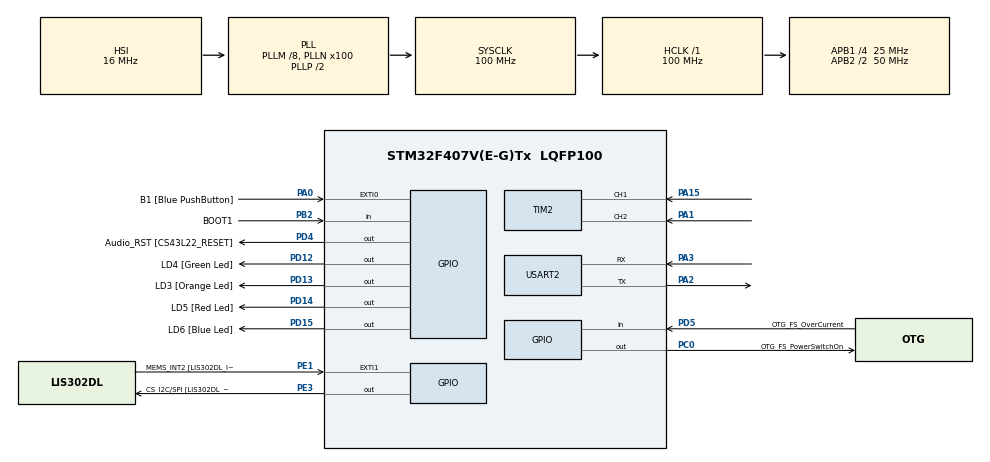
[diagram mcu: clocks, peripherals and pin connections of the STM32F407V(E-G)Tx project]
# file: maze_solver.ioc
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Mcu.Family=STM32F4
Mcu.Name=STM32F407V(E-G)Tx
Mcu.Package=LQFP100
NVIC.PriorityGroup=NVIC_PRIORITYGROUP_0
PA0-WKUP.GPIO_Label=B1 [Blue PushButton]
PA0-WKUP.Signal=GPXTI0
PA1.Signal=S_TIM2_CH2
PA10.GPIO_Label=OTG_FS_ID
PA10.GPIO_Mode=GPIO_MODE_AF_PP
PA10.GPIO_PuPd=GPIO_NOPULL
PA10.GPIO_Speed=GPIO_SPEED_FREQ_LOW
PA10.Signal=USB_OTG_FS_ID
PA11.GPIO_Label=OTG_FS_DM
PA11.GPIO_Mode=GPIO_MODE_AF_PP
PA11.GPIO_PuPd=GPIO_NOPULL
PA11.GPIO_Speed=GPIO_SPEED_FREQ_LOW
PA11.Signal=USB_OTG_FS_DM
PA12.GPIO_Label=OTG_FS_DP
PA12.GPIO_Mode=GPIO_MODE_AF_PP
PA12.GPIO_PuPd=GPIO_NOPULL
PA12.GPIO_Speed=GPIO_SPEED_FREQ_LOW
PA12.Signal=USB_OTG_FS_DP
PA13.GPIO_Label=SWDIO
PA13.Signal=SYS_JTMS-SWDIO
PA14.GPIO_Label=SWCLK
PA14.Signal=SYS_JTCK-SWCLK
PA15.Signal=S_TIM2_CH1_ETR
PA2.Mode=Asynchronous
PA2.Signal=USART2_TX
PA3.Mode=Asynchronous
PA3.Signal=USART2_RX
PA4.GPIO_Label=I2S3_WS [CS43L22_LRCK]
PA4.GPIO_Mode=GPIO_MODE_AF_PP
PA4.GPIO_PuPd=GPIO_NOPULL
PA4.GPIO_Speed=GPIO_SPEED_FREQ_LOW
PA4.Signal=I2S3_WS
PA5.GPIO_Label=SPI1_SCK [LIS302DL_SCL/SPC]
PA5.GPIO_Mode=GPIO_MODE_AF_PP
PA5.GPIO_PuPd=GPIO_NOPULL
PA5.GPIO_Speed=GPIO_SPEED_FREQ_LOW
PA5.Signal=SPI1_SCK
PA6.GPIO_Label=SPI1_MISO [LIS302DL_SDO]
PA6.GPIO_Mode=GPIO_MODE_AF_PP
PA6.GPIO_PuPd=GPIO_NOPULL
PA6.GPIO_Speed=GPIO_SPEED_FREQ_LOW
PA6.Signal=SPI1_MISO
PA7.GPIO_Label=SPI1_MOSI [LIS302DL_SDA/SDI/SDO]
PA7.GPIO_Mode=GPIO_MODE_AF_PP
PA7.GPIO_PuPd=GPIO_NOPULL
PA7.GPIO_Speed=GPIO_SPEED_FREQ_LOW
PA7.Signal=SPI1_MOSI
PA9.GPIO_Label=VBUS_FS
PA9.GPIO_Mode=GPIO_MODE_INPUT
PA9.GPIO_PuPd=GPIO_NOPULL
PA9.Signal=USB_OTG_FS_VBUS
PB10.GPIO_Label=CLK_IN [MP45DT02_CLK]
PB10.GPIO_Mode=GPIO_MODE_AF_PP
PB10.GPIO_PuPd=GPIO_NOPULL
PB10.GPIO_Speed=GPIO_SPEED_FREQ_LOW
PB10.Signal=I2S2_CK
PB2.GPIO_Label=BOOT1
PB2.GPIO_Mode=GPIO_MODE_INPUT
PB2.GPIO_PuPd=GPIO_NOPULL
PB2.Signal=GPIO_Input
PB3.GPIO_Label=SWO
PB3.Signal=SYS_JTDO-SWO
PB6.GPIO_Label=Audio_SCL [CS43L22_SCL]
PB6.GPIO_Mode=GPIO_MODE_AF_OD
PB6.GPIO_PuPd=GPIO_NOPULL
PB6.GPIO_Speed=GPIO_SPEED_FREQ_LOW
PB6.Signal=I2C1_SCL
PB9.GPIO_Label=Audio_SDA [CS43L22_SDA]
PB9.GPIO_Mode=GPIO_MODE_AF_OD
PB9.GPIO_PuPd=GPIO_NOPULL
PB9.GPIO_Speed=GPIO_SPEED_FREQ_LOW
PB9.Signal=I2C1_SDA
PC0.GPIO_Label=OTG_FS_PowerSwitchOn
PC0.GPIO_PuPd=GPIO_NOPULL
PC0.GPIO_Speed=GPIO_SPEED_FREQ_LOW
PC0.PinState=GPIO_PIN_SET
PC0.Signal=GPIO_Output
PC10.GPIO_Label=I2S3_SCK [CS43L22_SCLK]
PC10.GPIO_Mode=GPIO_MODE_AF_PP
PC10.GPIO_PuPd=GPIO_NOPULL
PC10.GPIO_Speed=GPIO_SPEED_FREQ_LOW
PC10.Signal=I2S3_CK
PC12.GPIO_Label=I2S3_SD [CS43L22_SDIN]
PC12.GPIO_Mode=GPIO_MODE_AF_PP
PC12.GPIO_PuPd=GPIO_NOPULL
PC12.GPIO_Speed=GPIO_SPEED_FREQ_LOW
PC12.Signal=I2S3_SD
PC14-OSC32_IN.GPIO_Label=PC14-OSC32_IN
PC14-OSC32_IN.Signal=RCC_OSC32_IN
PC15-OSC32_OUT.GPIO_Label=PC15-OSC32_OUT
PC15-OSC32_OUT.Signal=RCC_OSC32_OUT
PC3.GPIO_Label=PDM_OUT [MP45DT02_DOUT]
PC3.GPIO_Mode=GPIO_MODE_AF_PP
PC3.GPIO_PuPd=GPIO_NOPULL
PC3.GPIO_Speed=GPIO_SPEED_FREQ_LOW
PC3.Signal=I2S2_SD
PC7.GPIO_Label=I2S3_MCK [CS43L22_MCLK]
PC7.GPIO_Mode=GPIO_MODE_AF_PP
PC7.GPIO_PuPd=GPIO_NOPULL
PC7.GPIO_Speed=GPIO_SPEED_FREQ_LOW
PC7.Signal=I2S3_MCK
PD12.GPIO_Label=LD4 [Green Led]
PD12.GPIO_PuPd=GPIO_NOPULL
PD12.GPIO_Speed=GPIO_SPEED_FREQ_LOW
PD12.Signal=GPIO_Output
PD13.GPIO_Label=LD3 [Orange Led]
PD13.GPIO_PuPd=GPIO_NOPULL
PD13.GPIO_Speed=GPIO_SPEED_FREQ_LOW
PD13.Signal=GPIO_Output
PD14.GPIO_Label=LD5 [Red Led]
PD14.GPIO_PuPd=GPIO_NOPULL
PD14.GPIO_Speed=GPIO_SPEED_FREQ_LOW
PD14.Signal=GPIO_Output
PD15.GPIO_Label=LD6 [Blue Led]
PD15.GPIO_PuPd=GPIO_NOPULL
PD15.GPIO_Speed=GPIO_SPEED_FREQ_LOW
PD15.Signal=GPIO_Output
PD4.GPIO_Label=Audio_RST [CS43L22_RESET]
PD4.GPIO_PuPd=GPIO_NOPULL
PD4.GPIO_Speed=GPIO_SPEED_FREQ_LOW
PD4.Signal=GPIO_Output
PD5.GPIO_Label=OTG_FS_OverCurrent
PD5.GPIO_Mode=GPIO_MODE_INPUT
PD5.GPIO_PuPd=GPIO_NOPULL
PD5.Signal=GPIO_Input
PE1.GPIO_Label=MEMS_INT2 [LIS302DL_INT2]
PE1.GPIO_ModeDefaultEXTI=GPIO_MODE_EVT_RISING
PE1.GPIO_PuPd=GPIO_NOPULL
PE1.Signal=GPXTI1
PE3.GPIO_Label=CS_I2C/SPI [LIS302DL_CS_I2C/SPI]
PE3.GPIO_PuPd=GPIO_NOPULL
PE3.GPIO_Speed=GPIO_SPEED_FREQ_LOW
PE3.Signal=GPIO_Output
PH0-OSC_IN.GPIO_Label=PH0-OSC_IN
PH0-OSC_IN.Signal=RCC_OSC_IN
PH1-OSC_OUT.GPIO_Label=PH1-OSC_OUT
PH1-OSC_OUT.Signal=RCC_OSC_OUT
ProjectManager.HeapSize=0x200
ProjectManager.StackSize=0x400
ProjectManager.TargetToolchain=STM32CubeIDE
RCC.48MHZClocksFreq_Value=28571428.57142857
RCC.AHBFreq_Value=100000000
RCC.APB1CLKDivider=RCC_HCLK_DIV4
RCC.APB1Freq_Value=25000000
RCC.APB1TimFreq_Value=50000000
RCC.APB2CLKDivider=RCC_HCLK_DIV2
RCC.APB2Freq_Value=50000000
RCC.APB2TimFreq_Value=100000000
RCC.CortexFreq_Value=100000000
RCC.HCLKFreq_Value=100000000
RCC.HSE_VALUE=8000000
RCC.HSI_VALUE=16000000
RCC.LSE_VALUE=32768
RCC.PLLM=8
RCC.PLLN=100
RCC.PLLQ=7
RCC.SYSCLKFreq_VALUE=100000000
RCC.SYSCLKSource=RCC_SYSCLKSOURCE_PLLCLK
RCC.VCOOutputFreq_Value=200000000
SH.S_TIM2_CH1_ETR.0=TIM2_CH1,Encoder_Interface
SH.S_TIM2_CH2.0=TIM2_CH2,Encoder_Interface
TIM2.EncoderMode=TIM_ENCODERMODE_TI12
USART2.VirtualMode=VM_ASYNC
VP_TIM7_VS_ClockSourceINT.Mode=Enable_Timer
board=STM32F407G-DISC1

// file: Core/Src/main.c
/* USER CODE BEGIN Header */
/**
  ******************************************************************************
  * @file           : main.c
  * @brief          : Main program body
  ******************************************************************************
  * @attention
  *
  * Copyright (c) 2023 STMicroelectronics.
  * All rights reserved.
  *
  * This software is licensed under terms that can be found in the LICENSE file
  * in the root directory of this software component.
  * If no LICENSE file comes with this software, it is provided AS-IS.
  *
  ******************************************************************************
  */
/* USER CODE END Header */
#include "main.h"

/* USER CODE BEGIN Includes */
#include <string.h>
#include <stdlib.h>
/* USER CODE END Includes */

/* USER CODE BEGIN PTD */

typedef struct{
//	uint8_t Is_Wall_Back;
	uint8_t	Is_Wall_Front;
	uint8_t	Is_Wall_Left;
	uint8_t	Is_Wall_Right;
	uint16_t value ;
}cell_t;

/* USER CODE END PTD */

/* USER CODE BEGIN PD */

#define CELL_IN_ROW  	  15		// counted from 0
#define CELL_IN_COLUMN    15		// counted from 0
#define CELL_LENGTH_IN_CM 25		//cm absolute not from 0
#define NO_OF_CELL ( (CELL_IN_ROW ) * ( CELL_IN_COLUMN ) )  //counted from 0
#define MAZE_IS_EVEN  0
#define MAZE_IS_ODD   1

/* USER CODE END PD */

/* USER CODE BEGIN PM */
#define DEBUG 1 // make it zero to save mem and optimization
/* USER CODE END PM */

TIM_HandleTypeDef htim2;
TIM_HandleTypeDef htim7;

UART_HandleTypeDef huart2;

/* USER CODE BEGIN PV */

uint16_t center_row_location [2] ;
uint16_t center_column_location [2] ;

cell_t cells [CELL_IN_ROW + 1][CELL_IN_COLUMN + 1] ;

uint32_t counter = 0 ;

/* USER CODE END PV */

void SystemClock_Config(void);
static void MX_GPIO_Init(void);
static void MX_USART2_UART_Init(void);
static void MX_TIM7_Init(void);
static void MX_TIM2_Init(void);
/* USER CODE BEGIN PFP */
void floodfill_with_no_walls() ;
uint8_t manhatten_distance (uint8_t c_in_row , uint8_t c_in_col ,
							uint8_t goal_row , uint8_t goal_col);

/* USER CODE END PFP */

/* USER CODE BEGIN 0 */

void __io_putchar(int ch){
	ITM_SendChar(ch) ;
}

/* USER CODE END 0 */

int main(void)
{

  /* MCU Configuration--------------------------------------------------------*/

  /* Reset of all peripherals, Initializes the Flash interface and the Systick. */
  HAL_Init();

  /* Configure the system clock */
  SystemClock_Config();

  /* Initialize all configured peripherals */
  MX_GPIO_Init();
  MX_USART2_UART_Init();
  MX_TIM7_Init();
  MX_TIM2_Init();
  /* USER CODE BEGIN 2 */

  // setting the cells to zero value
  memset(cells , RESET , sizeof(cells)) ;

  // find the center location of the cell
  // first find wether it is odd or even
  uint8_t is_odd = 0 ;
  is_odd = ( ( (CELL_IN_ROW * CELL_IN_COLUMN ) % 2 ) == 1 )? MAZE_IS_ODD : MAZE_IS_EVEN;

  /* is is_odd value is 1 then it is odd
  number matrix else it is even if it has 0 as it value */

  if (is_odd == 1) {

  center_row_location[0] = (  CELL_IN_ROW / 2 );
  center_row_location[1] = ( (CELL_IN_ROW / 2 ) + 1 );

  center_column_location[0] = ( CELL_IN_COLUMN / 2 );
  center_column_location[1] = ( (CELL_IN_COLUMN / 2 ) + 1 );

  }else if (is_odd == 0) {

  center_row_location[0] = (  CELL_IN_ROW / 2 );
  center_row_location[1] = -1 ;

  center_column_location[0] = ( CELL_IN_COLUMN / 2 );
  center_column_location[1] = -1 ;

  }
  // do a flood fill with no walls at all which means all values are basically static
  floodfill_with_no_walls() ;

  HAL_UART_Transmit(&huart2, (uint8_t*)"static flooding complete ", 26, HAL_MAX_DELAY) ;

  for (uint8_t i = 0; i < 4; i++) {
  HAL_GPIO_WritePin(GPIOD, GPIO_PIN_14, SET) ;
  HAL_Delay(150) ;
  HAL_GPIO_WritePin(GPIOD, GPIO_PIN_14, RESET) ;
  HAL_Delay(150) ;
  }
  HAL_GPIO_WritePin(GPIOD, GPIO_PIN_14, SET) ;

  HAL_TIM_Encoder_Start(&htim2, TIM_CHANNEL_ALL) ;

  /* USER CODE END 2 */

  /* Infinite loop */
  while (1)
  {

	counter = __HAL_TIM_GET_COUNTER(&htim2) ;
	  printf("%d \n " , counter) ;
	  HAL_Delay(500) ;
  }
}

void SystemClock_Config(void)
{
  RCC_OscInitTypeDef RCC_OscInitStruct = {0};
  RCC_ClkInitTypeDef RCC_ClkInitStruct = {0};

  /** Configure the main internal regulator output voltage
  */
  __HAL_RCC_PWR_CLK_ENABLE();
  __HAL_PWR_VOLTAGESCALING_CONFIG(PWR_REGULATOR_VOLTAGE_SCALE1);

  /** Initializes the RCC Oscillators according to the specified parameters
  * in the RCC_OscInitTypeDef structure.
  */
  RCC_OscInitStruct.OscillatorType = RCC_OSCILLATORTYPE_HSI;
  RCC_OscInitStruct.HSIState = RCC_HSI_ON;
  RCC_OscInitStruct.HSICalibrationValue = RCC_HSICALIBRATION_DEFAULT;
  RCC_OscInitStruct.PLL.PLLState = RCC_PLL_ON;
  RCC_OscInitStruct.PLL.PLLSource = RCC_PLLSOURCE_HSI;
  RCC_OscInitStruct.PLL.PLLM = 8;
  RCC_OscInitStruct.PLL.PLLN = 100;
  RCC_OscInitStruct.PLL.PLLP = RCC_PLLP_DIV2;
  RCC_OscInitStruct.PLL.PLLQ = 7;
  if (HAL_RCC_OscConfig(&RCC_OscInitStruct) != HAL_OK)
  {
    Error_Handler();
  }

  /** Initializes the CPU, AHB and APB buses clocks
  */
  RCC_ClkInitStruct.ClockType = RCC_CLOCKTYPE_HCLK|RCC_CLOCKTYPE_SYSCLK
                              |RCC_CLOCKTYPE_PCLK1|RCC_CLOCKTYPE_PCLK2;
  RCC_ClkInitStruct.SYSCLKSource = RCC_SYSCLKSOURCE_PLLCLK;
  RCC_ClkInitStruct.AHBCLKDivider = RCC_SYSCLK_DIV1;
  RCC_ClkInitStruct.APB1CLKDivider = RCC_HCLK_DIV4;
  RCC_ClkInitStruct.APB2CLKDivider = RCC_HCLK_DIV2;

  if (HAL_RCC_ClockConfig(&RCC_ClkInitStruct, FLASH_LATENCY_3) != HAL_OK)
  {
    Error_Handler();
  }
}

static void MX_TIM2_Init(void)
{

  TIM_Encoder_InitTypeDef sConfig = {0};
  TIM_MasterConfigTypeDef sMasterConfig = {0};

  htim2.Instance = TIM2;
  htim2.Init.Prescaler = 0;
  htim2.Init.CounterMode = TIM_COUNTERMODE_UP;
  htim2.Init.Period = 4294967295;
  htim2.Init.ClockDivision = TIM_CLOCKDIVISION_DIV1;
  htim2.Init.AutoReloadPreload = TIM_AUTORELOAD_PRELOAD_DISABLE;
  sConfig.EncoderMode = TIM_ENCODERMODE_TI12;
  sConfig.IC1Polarity = TIM_ICPOLARITY_RISING;
  sConfig.IC1Selection = TIM_ICSELECTION_DIRECTTI;
  sConfig.IC1Prescaler = TIM_ICPSC_DIV1;
  sConfig.IC1Filter = 10;
  sConfig.IC2Polarity = TIM_ICPOLARITY_RISING;
  sConfig.IC2Selection = TIM_ICSELECTION_DIRECTTI;
  sConfig.IC2Prescaler = TIM_ICPSC_DIV1;
  sConfig.IC2Filter = 10;
  if (HAL_TIM_Encoder_Init(&htim2, &sConfig) != HAL_OK)
  {
    Error_Handler();
  }
  sMasterConfig.MasterOutputTrigger = TIM_TRGO_RESET;
  sMasterConfig.MasterSlaveMode = TIM_MASTERSLAVEMODE_DISABLE;
  if (HAL_TIMEx_MasterConfigSynchronization(&htim2, &sMasterConfig) != HAL_OK)
  {
    Error_Handler();
  }

}

static void MX_TIM7_Init(void)
{

  TIM_MasterConfigTypeDef sMasterConfig = {0};

  htim7.Instance = TIM7;
  htim7.Init.Prescaler = 0;
  htim7.Init.CounterMode = TIM_COUNTERMODE_UP;
  htim7.Init.Period = 65535;
  htim7.Init.AutoReloadPreload = TIM_AUTORELOAD_PRELOAD_DISABLE;
  if (HAL_TIM_Base_Init(&htim7) != HAL_OK)
  {
    Error_Handler();
  }
  sMasterConfig.MasterOutputTrigger = TIM_TRGO_RESET;
  sMasterConfig.MasterSlaveMode = TIM_MASTERSLAVEMODE_DISABLE;
  if (HAL_TIMEx_MasterConfigSynchronization(&htim7, &sMasterConfig) != HAL_OK)
  {
    Error_Handler();
  }

}

static void MX_USART2_UART_Init(void)
{

  huart2.Instance = USART2;
  huart2.Init.BaudRate = 115200;
  huart2.Init.WordLength = UART_WORDLENGTH_8B;
  huart2.Init.StopBits = UART_STOPBITS_1;
  huart2.Init.Parity = UART_PARITY_NONE;
  huart2.Init.Mode = UART_MODE_TX_RX;
  huart2.Init.HwFlowCtl = UART_HWCONTROL_NONE;
  huart2.Init.OverSampling = UART_OVERSAMPLING_16;
  if (HAL_UART_Init(&huart2) != HAL_OK)
  {
    Error_Handler();
  }

}

static void MX_GPIO_Init(void)
{
  GPIO_InitTypeDef GPIO_InitStruct = {0};

  /* GPIO Ports Clock Enable */
  __HAL_RCC_GPIOE_CLK_ENABLE();
  __HAL_RCC_GPIOC_CLK_ENABLE();
  __HAL_RCC_GPIOH_CLK_ENABLE();
  __HAL_RCC_GPIOA_CLK_ENABLE();
  __HAL_RCC_GPIOB_CLK_ENABLE();
  __HAL_RCC_GPIOD_CLK_ENABLE();

  /*Configure GPIO pin Output Level */
  HAL_GPIO_WritePin(CS_I2C_SPI_GPIO_Port, CS_I2C_SPI_Pin, GPIO_PIN_RESET);

  /*Configure GPIO pin Output Level */
  HAL_GPIO_WritePin(OTG_FS_PowerSwitchOn_GPIO_Port, OTG_FS_PowerSwitchOn_Pin, GPIO_PIN_SET);

  /*Configure GPIO pin Output Level */
  HAL_GPIO_WritePin(GPIOD, LD4_Pin|LD3_Pin|LD5_Pin|LD6_Pin
                          |Audio_RST_Pin, GPIO_PIN_RESET);

  /*Configure GPIO pin : CS_I2C_SPI_Pin */
  GPIO_InitStruct.Pin = CS_I2C_SPI_Pin;
  GPIO_InitStruct.Mode = GPIO_MODE_OUTPUT_PP;
  GPIO_InitStruct.Pull = GPIO_NOPULL;
  GPIO_InitStruct.Speed = GPIO_SPEED_FREQ_LOW;
  HAL_GPIO_Init(CS_I2C_SPI_GPIO_Port, &GPIO_InitStruct);

  /*Configure GPIO pin : OTG_FS_PowerSwitchOn_Pin */
  GPIO_InitStruct.Pin = OTG_FS_PowerSwitchOn_Pin;
  GPIO_InitStruct.Mode = GPIO_MODE_OUTPUT_PP;
  GPIO_InitStruct.Pull = GPIO_NOPULL;
  GPIO_InitStruct.Speed = GPIO_SPEED_FREQ_LOW;
  HAL_GPIO_Init(OTG_FS_PowerSwitchOn_GPIO_Port, &GPIO_InitStruct);

  /*Configure GPIO pin : PDM_OUT_Pin */
  GPIO_InitStruct.Pin = PDM_OUT_Pin;
  GPIO_InitStruct.Mode = GPIO_MODE_AF_PP;
  GPIO_InitStruct.Pull = GPIO_NOPULL;
  GPIO_InitStruct.Speed = GPIO_SPEED_FREQ_LOW;
  GPIO_InitStruct.Alternate = GPIO_AF5_SPI2;
  HAL_GPIO_Init(PDM_OUT_GPIO_Port, &GPIO_InitStruct);

  /*Configure GPIO pin : B1_Pin */
  GPIO_InitStruct.Pin = B1_Pin;
  GPIO_InitStruct.Mode = GPIO_MODE_IT_RISING;
  GPIO_InitStruct.Pull = GPIO_NOPULL;
  HAL_GPIO_Init(B1_GPIO_Port, &GPIO_InitStruct);

  /*Configure GPIO pin : I2S3_WS_Pin */
  GPIO_InitStruct.Pin = I2S3_WS_Pin;
  GPIO_InitStruct.Mode = GPIO_MODE_AF_PP;
  GPIO_InitStruct.Pull = GPIO_NOPULL;
  GPIO_InitStruct.Speed = GPIO_SPEED_FREQ_LOW;
  GPIO_InitStruct.Alternate = GPIO_AF6_SPI3;
  HAL_GPIO_Init(I2S3_WS_GPIO_Port, &GPIO_InitStruct);

  /*Configure GPIO pins : SPI1_SCK_Pin SPI1_MISO_Pin SPI1_MOSI_Pin */
  GPIO_InitStruct.Pin = SPI1_SCK_Pin|SPI1_MISO_Pin|SPI1_MOSI_Pin;
  GPIO_InitStruct.Mode = GPIO_MODE_AF_PP;
  GPIO_InitStruct.Pull = GPIO_NOPULL;
  GPIO_InitStruct.Speed = GPIO_SPEED_FREQ_LOW;
  GPIO_InitStruct.Alternate = GPIO_AF5_SPI1;
  HAL_GPIO_Init(GPIOA, &GPIO_InitStruct);

  /*Configure GPIO pin : BOOT1_Pin */
  GPIO_InitStruct.Pin = BOOT1_Pin;
  GPIO_InitStruct.Mode = GPIO_MODE_INPUT;
  GPIO_InitStruct.Pull = GPIO_NOPULL;
  HAL_GPIO_Init(BOOT1_GPIO_Port, &GPIO_InitStruct);

  /*Configure GPIO pin : CLK_IN_Pin */
  GPIO_InitStruct.Pin = CLK_IN_Pin;
  GPIO_InitStruct.Mode = GPIO_MODE_AF_PP;
  GPIO_InitStruct.Pull = GPIO_NOPULL;
  GPIO_InitStruct.Speed = GPIO_SPEED_FREQ_LOW;
  GPIO_InitStruct.Alternate = GPIO_AF5_SPI2;
  HAL_GPIO_Init(CLK_IN_GPIO_Port, &GPIO_InitStruct);

  /*Configure GPIO pins : LD4_Pin LD3_Pin LD5_Pin LD6_Pin
                           Audio_RST_Pin */
  GPIO_InitStruct.Pin = LD4_Pin|LD3_Pin|LD5_Pin|LD6_Pin
                          |Audio_RST_Pin;
  GPIO_InitStruct.Mode = GPIO_MODE_OUTPUT_PP;
  GPIO_InitStruct.Pull = GPIO_NOPULL;
  GPIO_InitStruct.Speed = GPIO_SPEED_FREQ_LOW;
  HAL_GPIO_Init(GPIOD, &GPIO_InitStruct);

  /*Configure GPIO pins : I2S3_MCK_Pin I2S3_SCK_Pin I2S3_SD_Pin */
  GPIO_InitStruct.Pin = I2S3_MCK_Pin|I2S3_SCK_Pin|I2S3_SD_Pin;
  GPIO_InitStruct.Mode = GPIO_MODE_AF_PP;
  GPIO_InitStruct.Pull = GPIO_NOPULL;
  GPIO_InitStruct.Speed = GPIO_SPEED_FREQ_LOW;
  GPIO_InitStruct.Alternate = GPIO_AF6_SPI3;
  HAL_GPIO_Init(GPIOC, &GPIO_InitStruct);

  /*Configure GPIO pin : VBUS_FS_Pin */
  GPIO_InitStruct.Pin = VBUS_FS_Pin;
  GPIO_InitStruct.Mode = GPIO_MODE_INPUT;
  GPIO_InitStruct.Pull = GPIO_NOPULL;
  HAL_GPIO_Init(VBUS_FS_GPIO_Port, &GPIO_InitStruct);

  /*Configure GPIO pins : OTG_FS_ID_Pin OTG_FS_DM_Pin OTG_FS_DP_Pin */
  GPIO_InitStruct.Pin = OTG_FS_ID_Pin|OTG_FS_DM_Pin|OTG_FS_DP_Pin;
  GPIO_InitStruct.Mode = GPIO_MODE_AF_PP;
  GPIO_InitStruct.Pull = GPIO_NOPULL;
  GPIO_InitStruct.Speed = GPIO_SPEED_FREQ_LOW;
  GPIO_InitStruct.Alternate = GPIO_AF10_OTG_FS;
  HAL_GPIO_Init(GPIOA, &GPIO_InitStruct);

  /*Configure GPIO pin : OTG_FS_OverCurrent_Pin */
  GPIO_InitStruct.Pin = OTG_FS_OverCurrent_Pin;
  GPIO_InitStruct.Mode = GPIO_MODE_INPUT;
  GPIO_InitStruct.Pull = GPIO_NOPULL;
  HAL_GPIO_Init(OTG_FS_OverCurrent_GPIO_Port, &GPIO_InitStruct);

  /*Configure GPIO pins : Audio_SCL_Pin Audio_SDA_Pin */
  GPIO_InitStruct.Pin = Audio_SCL_Pin|Audio_SDA_Pin;
  GPIO_InitStruct.Mode = GPIO_MODE_AF_OD;
  GPIO_InitStruct.Pull = GPIO_NOPULL;
  GPIO_InitStruct.Speed = GPIO_SPEED_FREQ_LOW;
  GPIO_InitStruct.Alternate = GPIO_AF4_I2C1;
  HAL_GPIO_Init(GPIOB, &GPIO_InitStruct);

  /*Configure GPIO pin : MEMS_INT2_Pin */
  GPIO_InitStruct.Pin = MEMS_INT2_Pin;
  GPIO_InitStruct.Mode = GPIO_MODE_EVT_RISING;
  GPIO_InitStruct.Pull = GPIO_NOPULL;
  HAL_GPIO_Init(MEMS_INT2_GPIO_Port, &GPIO_InitStruct);

}

/* USER CODE BEGIN 4 */

void floodfill_with_no_walls(){

	// the below loop does it to only 2nd  quadrant counted from 0 top left i row wise fashion
	for (uint8_t j = 0; j <=( CELL_IN_COLUMN / 2) ; j++) {
	for (uint8_t i = 0; i <=( CELL_IN_ROW / 2 ); i++) {
		cells[i][j].value = manhatten_distance(i, j, center_row_location[0],center_column_location[0]);
	}
  }

	// the below loop does it to only 2nd  quadrant counted from 0 top left in row wise fashion
	//	center location for goal is incremented in colum by 1
	// looping from location 8 to 15
	for (uint8_t j = 8; j <=( CELL_IN_COLUMN ); j++) {
	for (uint8_t i = 0; i <=( CELL_IN_ROW /2 ); i++) {
		cells[i][j].value = manhatten_distance(i, j, center_row_location[0],center_column_location[1]);
	}

		#if DEBUG
		uint8_t temp1 = 0  ;
		#endif
  }

	// the below loop does it to only 3rd  quadrant  counted from 0 top left in row wise fashion
	//	center location for goal is incremented in colum by 1
	// looping from location 8 to 15
	for (uint8_t j = 0; j <=( CELL_IN_COLUMN/ 2); j++) {
	for (uint8_t i = 8; i <=( CELL_IN_ROW  ); i++) {
		cells[i][j].value = manhatten_distance(i, j, center_row_location[1],center_column_location[0]);
	}
		#if DEBUG
		uint8_t temp2 = 0  ;
		#endif
  }

	// the below loop does it to only 4th quadrant counted from 0 top left in row wise fashion
		//	center location for goal is incremented in colum by 1
		// looping from location 8 to 15
		for (uint8_t j = 8; j <=( CELL_IN_COLUMN); j++) {
		for (uint8_t i = 8; i <=( CELL_IN_ROW  ); i++) {
			cells[i][j].value = manhatten_distance(i, j, center_row_location[1],center_column_location[1]);
		}
		#if DEBUG
		uint8_t temp3 = 0  ;
		#endif
	  }

}

uint8_t manhatten_distance (uint8_t c_in_row , uint8_t c_in_col , uint8_t goal_row , uint8_t goal_col){

	// only till 7,7

	return (

			abs ( abs(goal_row - c_in_row) + abs(goal_col - c_in_col) )
	);

}

/* USER CODE END 4 */

void Error_Handler(void)
{
  __disable_irq();
  while (1)
  {
  }
}
